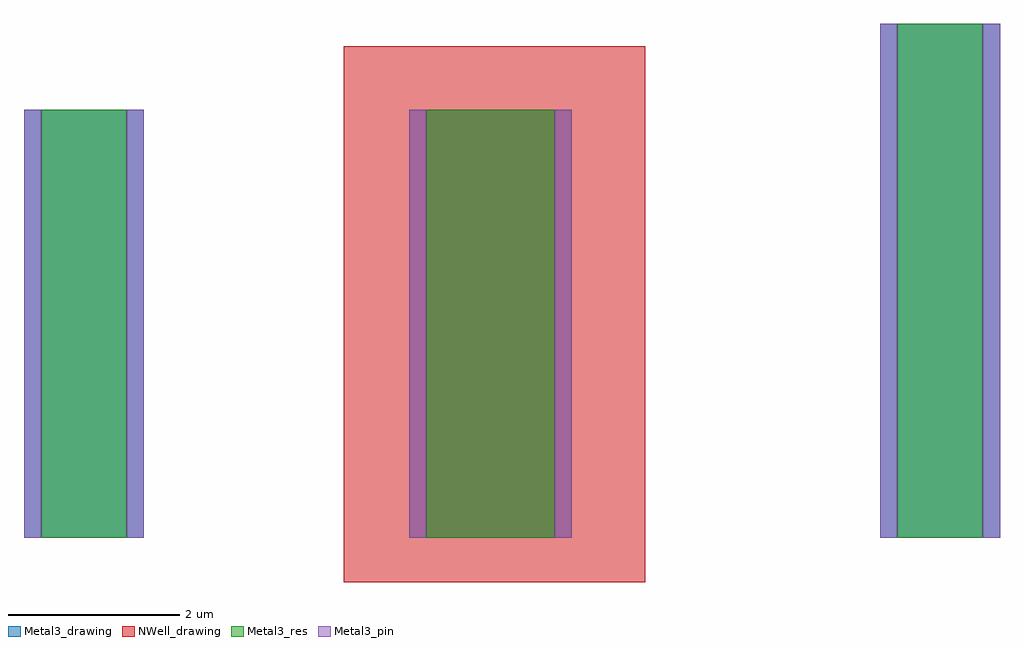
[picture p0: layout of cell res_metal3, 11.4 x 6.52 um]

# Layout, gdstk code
import gdstk
lib = gdstk.Library(unit=1e-6, precision=1e-09)
def R(c, l, rs):  # rectangles x0, y0, x1, y1
    for r in rs: c.add(gdstk.rectangle(r[:2], r[2:], *l))
Metal3_drawing = (30, 0)
Metal3_pin = (30, 2)
Metal3_res = (30, 29)
NWell_drawing = (31, 0)

res_metal3 = lib.new_cell('res_metal3')
R(res_metal3, Metal3_drawing, [(-0.7,0,0.7,5), (-0.5,0,0.5,5), (3.8,0,5.2,5), (4.7,0,5.7,5), (9.3,0,10.7,6), (9.5,0,10.5,6)])
R(res_metal3, Metal3_pin, [(-0.7,0,-0.5,5), (0.5,0,0.7,5), (3.8,0,4,5), (5.5,0,5.7,5), (9.3,0,9.5,6), (10.5,0,10.7,6)])
R(res_metal3, Metal3_res, [(-0.5,0,0.5,5), (4,0,5.5,5), (9.5,0,10.5,6)])
R(res_metal3, NWell_drawing, [(3.032,-0.519,6.556,5.737)])

lib.write_gds('res_metal3.gds')
